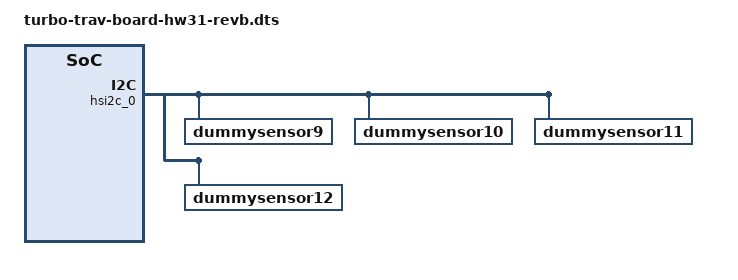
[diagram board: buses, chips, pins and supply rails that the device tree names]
/*
 * TURBO TRAV HW3.1 RevB board device tree source
 *
 * Copyright (C) 2019 Tesla Inc.
 *
 * This program is free software; you can redistribute it and/or modify
 * it under the terms of the GNU General Public License as published by
 * the Free Software Foundation; version 2 of the License.
 *
 * This program is distributed in the hope that it will be useful,
 * but WITHOUT ANY WARRANTY; without even the implied warranty of
 * MERCHANTABILITY or FITNESS FOR A PARTICULAR PURPOSE. See the
 * GNU General Public License for more details.
 */

/dts-v1/;
#include "turbo-trav-board-hw31.dts"

/* Dual serializer has been replaced by QUAD serializer in hw3.1.
 * Data lanes changed to reflect the change */
&hsi2c_0 {
	dummysensor9@0x18 {
		port {
			csis_trav_sensor_8_ep: endpoint {
				data-lanes = <1 2 3 4>;
			};
		};
	};

	dummysensor10@0x19 {
		port {
			csis_trav_sensor_9_ep: endpoint {
				data-lanes = <1 2 3 4>;
			};
		};
	};

	dummysensor11@0x1A {
		port {
			csis_trav_sensor_10_ep: endpoint {
				data-lanes = <1 2 3 4>;
			};
		};
	};

	dummysensor12@0x1B {
		port {
			csis_trav_sensor_11_ep: endpoint {
				data-lanes = <1 2 3 4>;
			};
		};
	};
};
